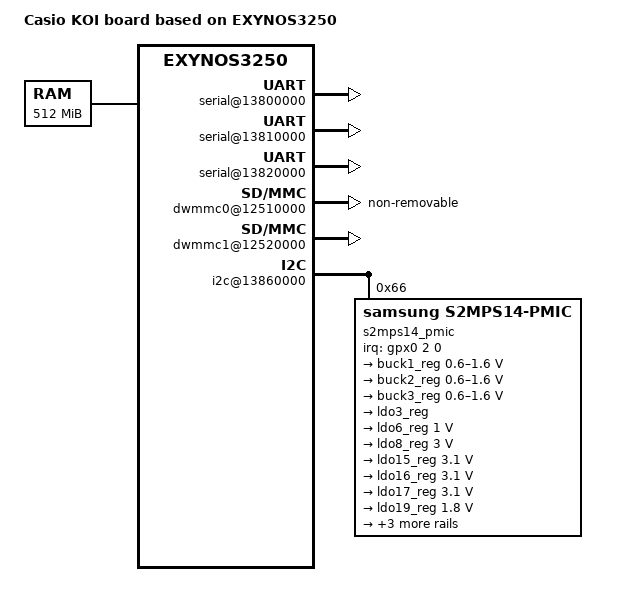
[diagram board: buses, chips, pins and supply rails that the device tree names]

/*
 * SAMSUNG SHIRI board device tree source
 *
 * Copyright (c) 2014 Samsung Electronics Co., Ltd.
 *		http://www.samsung.com
 *
 * This program is free software; you can redistribute it and/or modify
 * it under the terms of the GNU General Public License version 2 as
 * published by the Free Software Foundation.
*/

/dts-v1/;
/include/ "exynos3250-koi-pinctrl.dtsi"
#include "exynos3250.dtsi"
#include "exynos3250-koi-pd_gpio.dtsi"

/ {
	model = "Casio KOI board based on EXYNOS3250";
	compatible = "samsung,KOI", "samsung,SHIRI", "samsung,exynos3250";

	chosen {
		bootargs = "earlycon=exynos,io,0x13820000,115200n8 console=ttySAC2,115200 vmalloc=256M ess_setup=0x46000000";
		//bootargs = "earlycon=exynos,io,0x13820000,115200n8 console=ttySAC2,115200 vmalloc=256M root=/dev/ram0 rw ramdisk=8192 initrd=0x41000000,8M init=/linuxrc";
		//bootargs = "console=ttySAC2,115200 vmalloc=256M ess_setup=0x46000000";
	};

	memory {
		reg = <0x40000000 0x20000000>;
	};

	ion {
		compatible = "samsung,exynos5430-ion";
	};

	serial@13800000 {
		status = "okay";
	};

	serial@13810000 {
		status = "okay";
	};

	serial@13820000 {
		status = "okay";
	};

	dwmmc0@12510000 {
		status = "okay";
		num-slots = <1>;
		broken-cd;
		use-smu;
		fixed_voltage;
		clock-gate;
		supports-highspeed;
		mmc-ddr-1_8v;
//		mmc-hs200-1_8v;
//		mmc-hs400-1_8v;
		supports-8bit;
		supports-cmd23;
		supports-erase;
//		enable-ulp-mode;
//		supports-hs400-enhanced-strobe;
//		use-fine-tuning;
		bypass-for-allpass;
		card-init-hwacg-ctrl;
		fifo-depth = <0x40>;
		non-removable;
		desc-size = <4>;
		card-detect-delay = <200>;
		data-timeout = <200>;
		clock-frequency = <800000000>;
		samsung,dw-mshc-ciu-div = <3>;
		samsung,dw-mshc-txdt-crc-timer-fastlimit = <0x34>;
		samsung,dw-mshc-txdt-crc-timer-initval = <0x38>;
		samsung,dw-mshc-ddr200-delay-line = <0x60>;
		samsung,dw-mshc-sdr-timing = <3 0 4 0>;
		samsung,dw-mshc-ddr-timing = <3 0 4 2>;
		samsung,dw-mshc-hs200-timing = <3 0 3 0>;
		samsung,dw-mshc-ddr200-timing = <1 0 4 0>;
		samsung,dw-mshc-ddr200-ulp-timing = <3 0 3 0>;

		num-ref-clks = <12>;
		ciu_clkin = <25 50 50 25 50 100 200 50 50 200 200 200>;

		/* Swapping clock drive strength */
		clk-drive-number = <4>;
		pinctrl-names = "default",
			"fast-slew-rate-1x",
			"fast-slew-rate-2x",
			"fast-slew-rate-3x",
			"fast-slew-rate-4x";
		pinctrl-0 = <&sd0_clk &sd0_cmd &sd0_bus1 &sd0_bus4>;
		pinctrl-1 = <&sd0_clk_fast_slew_rate_1x>;
		pinctrl-2 = <&sd0_clk_fast_slew_rate_2x>;
		pinctrl-3 = <&sd0_clk_fast_slew_rate_3x>;
		pinctrl-4 = <&sd0_clk_fast_slew_rate_4x>;

		slot@0 {
			reg = <0>;
			bus-width = <8>;
		};
	};

	dwmmc1@12520000 {
		status = "okay";
		num-slots = <1>;
		supports-4bit;
		supports-cmd23;
		supports-erase;
		supports-highspeed;
//		sd-uhs-sdr104;
		clock-gate;
//		use-fine-tuning;
		samsung,voltage-int-extra = <0x7>;
		fifo-depth = <0x80>;
		qos_int_level = <255000>;
		samsung,dw-mshc-ciu-div = <3>;
		desc-size = <4>;
		card-detect-delay = <200>;
		data-timeout = <200>;
		hto-timeout = <550>;
		clock-frequency = <800000000>;
		samsung,dw-mshc-sdr-timing = <3 0 2 0>;
		samsung,dw-mshc-ddr-timing = <3 0 2 1>;

		num-ref-clks = <8>;
		ciu_clkin = <25 50 50 100 200 100 200 200>;

		/* Swapping clock drive strength */
		clk-drive-number = <4>;
		pinctrl-names = "default",
			"fast-slew-rate-1x",
			"fast-slew-rate-2x",
			"fast-slew-rate-3x",
			"fast-slew-rate-4x";
		pinctrl-0 = <&sd1_clk &sd1_cmd &sd1_bus1 &sd1_bus4>;
		pinctrl-1 = <&sd1_clk_fast_slew_rate_1x>;
		pinctrl-2 = <&sd1_clk_fast_slew_rate_2x>;
		pinctrl-3 = <&sd1_clk_fast_slew_rate_3x>;
		pinctrl-4 = <&sd1_clk_fast_slew_rate_4x>;

//		card-detect = <&gpj0 2 0x2>;
		slot@0 {
			reg = <0>;
			bus-width = <4>;
		};
	};

	i2c@13860000 {
		status = "okay";
		samsung,i2c-sda-delay = <100>;
		samsung,i2c-max-bus-freq = <400000>;
		#size-cells = <0>;

		s2mps14_pmic@66 {
			compatible = "samsung,s2mps14-pmic";
			reg = <0x66>;
			interrupts = <2 0 0>;
			interrupt-parent = <&gpx0>;
			pinctrl-names = "default";
			pinctrl-0 = <&pmic_irq &pm_wrsti>;
			wtsr_en = <1>;
			smpl_en = <1>;
			wtsr_timer_val = <3>;
			smpl_timer_val = <4>;
			check_jigon = <0>;
			/* RTC: If it's first boot, reset rtc to 1/1/2014 12:00:00(Wed) */
			init_time,sec = <0>;
			init_time,min = <0>;
			init_time,hour = <12>;
			init_time,mday = <1>;
			init_time,mon = <0>;
			init_time,year = <114>;
			init_time,wday = <3>;

			regulators {
				buck1_reg: BUCK1 {
					regulator-name = "vdd_mif";
					regulator-min-microvolt = <600000>;
					regulator-max-microvolt = <1600000>;
					regulator-always-on;
					regulator-boot-on;
					regulator-ramp-delay = <12000>;
					regulator-initial-mode = <1>;
				};

				buck2_reg: BUCK2 {
					regulator-name = "vdd_arm";
					regulator-min-microvolt = <600000>;
					regulator-max-microvolt = <1600000>;
					regulator-always-on;
					regulator-boot-on;
					regulator-ramp-delay = <12000>;
					regulator-initial-mode = <1>;
				};

				buck3_reg: BUCK3 {
					regulator-name = "vdd_int";
					regulator-min-microvolt = <600000>;
					regulator-max-microvolt = <1600000>;
					regulator-always-on;
					regulator-boot-on;
					regulator-ramp-delay = <12000>;
					regulator-initial-mode = <1>;
				};

				ldo2_reg: LDO2 {
					regulator-always-on;
					regulator-initial-mode = <1>;
				};

				ldo3_reg: LDO3 {
					regulator-name = "LDO3";
					regulator-initial-mode = <3>;
					regulator-always-on;
				};

				ldo4_reg: LDO4 {
					regulator-always-on;
					regulator-initial-mode = <1>;
				};

				ldo5_reg: LDO5 {
					regulator-always-on;
					regulator-initial-mode = <1>;
				};

				ldo6_reg: LDO6 {
					regulator-name = "VDD_USB_AP_1.0V";
					regulator-min-microvolt = <1000000>;
					regulator-max-microvolt = <1000000>;
					regulator-initial-mode = <1>;
				};

				ldo7_reg: LDO7 {
					regulator-always-on;
					regulator-initial-mode = <1>;
				};

				ldo8_reg: LDO8 {
					regulator-name = "VDD_UOTG_AP_3.3V";
					regulator-min-microvolt = <3000000>;
					regulator-max-microvolt = <3000000>;
					regulator-initial-mode = <1>;
				};

				ldo15_reg: LDO15 {
					regulator-name = "vdd_tsp_3.1";
					regulator-min-microvolt = <3100000>;
					regulator-max-microvolt = <3100000>;
				};

				ldo16_reg: LDO16 {
					regulator-name = "vdd_lcd_3.1";
					regulator-min-microvolt = <3100000>;
					regulator-max-microvolt = <3100000>;
					regulator-initial-mode = <3>;
				};

				ldo17_reg: LDO17 {
					regulator-name = "vdd_aud_3.1";
					regulator-min-microvolt = <3100000>;
					regulator-max-microvolt = <3100000>;
					regulator-initial-mode = <1>;
				};

				ldo19_reg: LDO19 {
					regulator-name = "vdd_bt_dual_1v8";
					regulator-min-microvolt = <1800000>;
					regulator-max-microvolt = <1800000>;
				};

				ldo20_reg: LDO20 {
					regulator-name = "vdd_lcd_1.8";
					regulator-min-microvolt = <1800000>;
					regulator-max-microvolt = <1800000>;
					regulator-initial-mode = <3>;
				};

				ldo21_reg: LDO21 {
					regulator-name = "vdd_tsp_1.8";
					regulator-min-microvolt = <800000>;
					regulator-max-microvolt = <2375000>;
				};

				ldo23_reg: LDO23 {
					regulator-name = "vdd_aud_1.8";
					regulator-min-microvolt = <800000>;
					regulator-max-microvolt = <2375000>;
					regulator-initial-mode = <1>;
				};
			};
		};
	};

	fimd_fb: fimd_fb {
		/* gpx0[6]- TE external interrupt pin */
		gpios = <&gpx0 4 0xf>;
		lcd-3.1-supply = <&ldo16_reg>;
		lcd-1.8-supply = <&ldo20_reg>;
		mipi-pll-supply = <&ldo6_reg>;
		fimd: fimd_ctrl {
			samsung,left_margin = <1>;
			samsung,right_margin = <1>;
			samsung,upper_margin = <1>;
			samsung,lower_margin = <1>;
			samsung,hsync_len = <1>;
			samsung,vsync_len = <1>;
			samsung,xres = <320>;
			samsung,yres = <300>;
			samsung,virtual_x = <320>;
			samsung,virtual_y = <300>;

			samsung,width = <34>;
			samsung,height = <32>;
			samsung,max_bpp = <32>;
			samsung,default_bpp = <24>;

			fb_driver_data {
				fb_win_variant_0 {
					has_osd_c = <1>;
					has_osd_d = <0>;
					has_osd_alpha = <0>;
					osd_size_off = <0x08>;
					palette_size = <256>;
					VALID_BPP_1248 = <1>;
					VALID_BPP_13 = <1>;
					VALID_BPP_15 = <1>;
					VALID_BPP_16 = <1>;
					VALID_BPP_18 = <1>;
					VALID_BPP_19 = <1>;
					VALID_BPP_24 = <1>;
					VALID_BPP_25 = <1>;
					VALID_BPP_32 = <1>;
				};
				fb_win_variant_1 {
					has_osd_c = <1>;
					has_osd_d = <1>;
					has_osd_alpha = <1>;
					osd_size_off = <0x0c>;
					palette_size = <256>;
					VALID_BPP_1248 = <1>;
					VALID_BPP_13 = <1>;
					VALID_BPP_15 = <1>;
					VALID_BPP_16 = <1>;
					VALID_BPP_18 = <1>;
					VALID_BPP_19 = <1>;
					VALID_BPP_24 = <1>;
					VALID_BPP_25 = <1>;
					VALID_BPP_32 = <1>;
				};
				fb_win_variant_2 {
					has_osd_c = <1>;
					has_osd_d = <1>;
					has_osd_alpha = <1>;
					osd_size_off = <0x0c>;
					palette_size = <256>;
					VALID_BPP_1248 = <1>;
					VALID_BPP_13 = <1>;
					VALID_BPP_15 = <1>;
					VALID_BPP_16 = <1>;
					VALID_BPP_18 = <1>;
					VALID_BPP_19 = <1>;
					VALID_BPP_24 = <1>;
					VALID_BPP_25 = <1>;
					VALID_BPP_32 = <1>;
				};
				fb_win_variant_3 {
					has_osd_c = <1>;
					has_osd_d = <0>;
					has_osd_alpha = <1>;
					osd_size_off = <0x0>;
					palette_size = <256>;
					VALID_BPP_1248 = <1>;
					VALID_BPP_13 = <1>;
					VALID_BPP_15 = <1>;
					VALID_BPP_16 = <1>;
					VALID_BPP_18 = <1>;
					VALID_BPP_19 = <1>;
					VALID_BPP_24 = <1>;
					VALID_BPP_25 = <1>;
					VALID_BPP_32 = <1>;
				};
				fb_win_variant_4 {
					has_osd_c = <1>;
					has_osd_d = <0>;
					has_osd_alpha = <1>;
					osd_size_off = <0x0>;
					palette_size = <256>;
					VALID_BPP_1248 = <1>;
					VALID_BPP_13 = <1>;
					VALID_BPP_15 = <1>;
					VALID_BPP_16 = <1>;
					VALID_BPP_18 = <1>;
					VALID_BPP_19 = <1>;
					VALID_BPP_24 = <1>;
					VALID_BPP_25 = <1>;
					VALID_BPP_32 = <1>;
				};
			};
		};

		mipi_dsi: mipi_dsi {
			/* gpm0[4]-Reset, gpc0[4]-backlight(LG) */
			gpios = <&gpc0 1 0x1>, <&gpc0 4 0x1>;
			interrupt-parent = <&gic>;
			interrupts = <0 83 0>;

			/* Interface definition: 0 - DSIM_COMMAND,
			                         1 - DSIM_VIDEO */
			e_interface = <0>;

			/* Pixel format : 0 - DSIM_CMD_3BPP,
					  1 - DSIM_CMD_8BPP,
					  2 - DSIM_CMD_12BPP,
					  3 - DSIM_CMD_16BPP,
					  4 - DSIM_VID_16BPP_565,
					  5 - DSIM_VID_18BPP_666PACKED,
					  6 - DSIM_18BPP_666LOOSELYPACKED,
					  7 - DSIM_24BPP_888 */
			e_pixel_format = <6>;

			/* main frame fifo auto flush at VSYNC pulse */
			auto_flush = <0>;
			eot_disable = <0>;
			auto_vertical_cnt = <0>;
			hse = <0>;
			hfp = <0>;
			hbp = <0>;
			hsa = <0>;

			/* num of data lane : 0 - DSIM_DATA_LANE_1,
					      1 - DSIM_DATA_LANE_2,
					      2 - DSIM_DATA_LANE_3,
					      3 - DSIM_DATA_LANE_4 */
			e_no_data_lane = <0>;

			/* byte clock divider : 0 - DSIM_PLL_OUT_DIV8,
						1 - DSIM_EXT_CLK_DIV8,
						2 - DSIM_EXT_CLK_BYPASS */
			e_byte_clk = <0>;

			/* Burst mode : 0 - DSIM_NON_BURST_SYNC_EVENT,
					2 - DSIM_NON_BURST_SYNC_PULSE,
					1 - DSIM_BURST
					4 - DSIM_NON_VIDEO_MODE */
			e_burst_mode = <1>;

			/* PMS
				- 1. LCD_S6E8AA0 : p - 4, m - 80, s - 2
				- 2. LCD_S6E3FA0(COMMAND): p - 2, m - 46, s - 1
				- 3. LCD_S6E3FA0(VIDEO): p - 4, m - 75, s - 1
				- 4. LCD_S6E3HA0(COMMAND): p - 2, m - 46, s - 1
				- 5. LCD_S6E63J0X03(CMD):  p - 3, m - 125, s -1 */
			p = <4>;
			m = <112>;
			s = <2>;

			/* D-PHY PLL stable time spec :min = 200usec ~ max 400usec */
			pll_stable_time = <0x400>;
			/* escape clk : 7MHz */
			esc_clk = <7000000>;
			/* stop state holding counter after bta change count 0 ~ 0xfff */
			stop_holding_cnt = <0x0f>;
			/* bta timeout 0 ~ 0xff */
			bta_timeout = <0xff>;
			/* lp rx timeout 0 ~ 0xffff */
			rx_timeout = <0xffff>;
		};
	};

};
